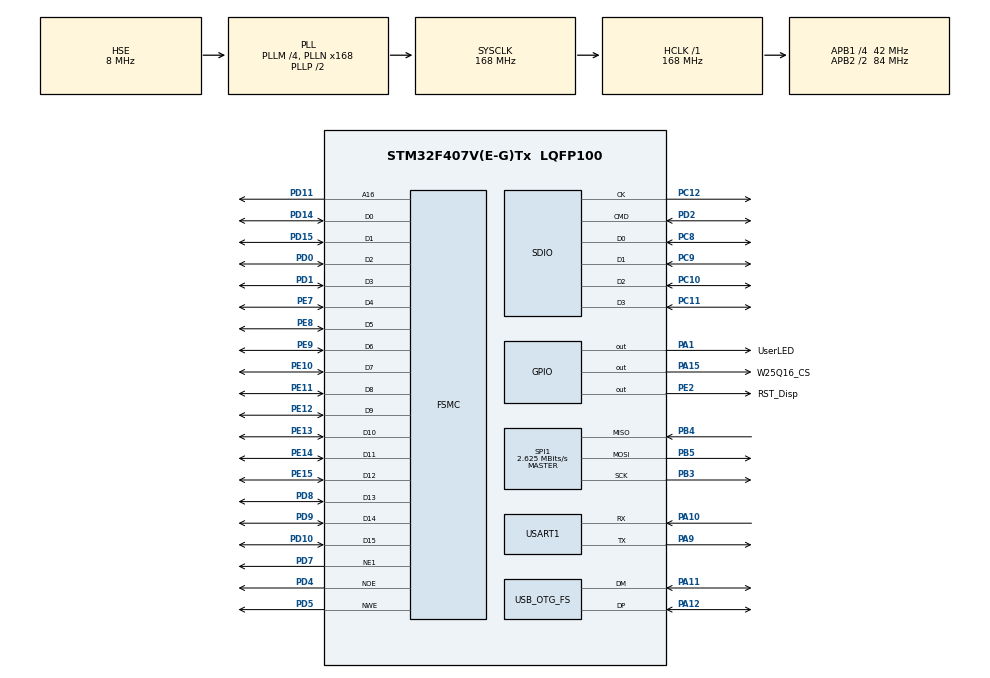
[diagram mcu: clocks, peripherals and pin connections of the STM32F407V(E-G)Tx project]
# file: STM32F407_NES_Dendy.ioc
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FATFS._FS_RPATH=1
FATFS._LFN_UNICODE=1
FATFS._MAX_SS=4096
FATFS._USE_LFN=2
FATFS._VOLUMES=2
FSMC.ExtendedAddressSetupTime1=4
FSMC.ExtendedBusTurnAroundDuration1=0
FSMC.ExtendedDataSetupTime1=8
FSMC.ExtendedMode1=FSMC_EXTENDED_MODE_ENABLE
Mcu.Family=STM32F4
Mcu.Name=STM32F407V(E-G)Tx
Mcu.Package=LQFP100
NVIC.OTG_FS_IRQn=true\:0\:0\:false\:false\:true\:false\:true\:true
NVIC.PriorityGroup=NVIC_PRIORITYGROUP_4
NVIC.USART1_IRQn=true\:0\:0\:false\:false\:true\:true\:true\:true
PA1.GPIO_Label=UserLED
PA1.GPIO_PuPd=GPIO_PULLUP
PA1.Signal=GPIO_Output
PA10.Mode=Asynchronous
PA10.Signal=USART1_RX
PA11.Mode=Device_Only
PA11.Signal=USB_OTG_FS_DM
PA12.Mode=Device_Only
PA12.Signal=USB_OTG_FS_DP
PA13.Mode=Serial_Wire
PA13.Signal=SYS_JTMS-SWDIO
PA14.Mode=Serial_Wire
PA14.Signal=SYS_JTCK-SWCLK
PA15.GPIO_Label=W25Q16_CS
PA15.PinState=GPIO_PIN_SET
PA15.Signal=GPIO_Output
PA9.Mode=Asynchronous
PA9.Signal=USART1_TX
PB3.Mode=Full_Duplex_Master
PB3.Signal=SPI1_SCK
PB4.Mode=Full_Duplex_Master
PB4.Signal=SPI1_MISO
PB5.Mode=Full_Duplex_Master
PB5.Signal=SPI1_MOSI
PC10.Mode=SD_4_bits_Wide_bus
PC10.Signal=SDIO_D2
PC11.Mode=SD_4_bits_Wide_bus
PC11.Signal=SDIO_D3
PC12.Mode=SD_4_bits_Wide_bus
PC12.Signal=SDIO_CK
PC14-OSC32_IN.Mode=LSE-External-Oscillator
PC14-OSC32_IN.Signal=RCC_OSC32_IN
PC15-OSC32_OUT.Mode=LSE-External-Oscillator
PC15-OSC32_OUT.Signal=RCC_OSC32_OUT
PC8.Mode=SD_4_bits_Wide_bus
PC8.Signal=SDIO_D0
PC9.Mode=SD_4_bits_Wide_bus
PC9.Signal=SDIO_D1
PD0.Mode=16b-d1
PD0.Signal=FSMC_D2
PD1.Mode=16b-d1
PD1.Signal=FSMC_D3
PD10.Mode=16b-d1
PD10.Signal=FSMC_D15
PD11.Mode=A16_1
PD11.Signal=FSMC_A16
PD14.Mode=16b-d1
PD14.Signal=FSMC_D0
PD15.Mode=16b-d1
PD15.Signal=FSMC_D1
PD2.Mode=SD_4_bits_Wide_bus
PD2.Signal=SDIO_CMD
PD4.Mode=Lcd1
PD4.Signal=FSMC_NOE
PD5.Mode=Lcd1
PD5.Signal=FSMC_NWE
PD7.Mode=NorPsramChipSelect1_1
PD7.Signal=FSMC_NE1
PD8.Mode=16b-d1
PD8.Signal=FSMC_D13
PD9.Mode=16b-d1
PD9.Signal=FSMC_D14
PE10.Mode=16b-d1
PE10.Signal=FSMC_D7
PE11.Mode=16b-d1
PE11.Signal=FSMC_D8
PE12.Mode=16b-d1
PE12.Signal=FSMC_D9
PE13.Mode=16b-d1
PE13.Signal=FSMC_D10
PE14.Mode=16b-d1
PE14.Signal=FSMC_D11
PE15.Mode=16b-d1
PE15.Signal=FSMC_D12
PE2.GPIO_Label=RST_Disp
PE2.PinState=GPIO_PIN_SET
PE2.Signal=GPIO_Output
PE7.Mode=16b-d1
PE7.Signal=FSMC_D4
PE8.Mode=16b-d1
PE8.Signal=FSMC_D5
PE9.Mode=16b-d1
PE9.Signal=FSMC_D6
PH0-OSC_IN.Mode=HSE-External-Oscillator
PH0-OSC_IN.Signal=RCC_OSC_IN
PH1-OSC_OUT.Mode=HSE-External-Oscillator
PH1-OSC_OUT.Signal=RCC_OSC_OUT
ProjectManager.HeapSize=0x200
ProjectManager.StackSize=0x2000
ProjectManager.TargetToolchain=CMake
RCC.48MHZClocksFreq_Value=48000000
RCC.AHBFreq_Value=168000000
RCC.APB1CLKDivider=RCC_HCLK_DIV4
RCC.APB1Freq_Value=42000000
RCC.APB1TimFreq_Value=84000000
RCC.APB2CLKDivider=RCC_HCLK_DIV2
RCC.APB2Freq_Value=84000000
RCC.APB2TimFreq_Value=168000000
RCC.CortexFreq_Value=168000000
RCC.HCLKFreq_Value=168000000
RCC.HSE_VALUE=8000000
RCC.HSI_VALUE=16000000
RCC.PLLM=4
RCC.PLLN=168
RCC.PLLQ=7
RCC.PLLSourceVirtual=RCC_PLLSOURCE_HSE
RCC.RCC_RTC_Clock_Source=RCC_RTCCLKSOURCE_LSE
RCC.RCC_RTC_Clock_SourceVirtual=RCC_RTCCLKSOURCE_LSE
RCC.SYSCLKFreq_VALUE=168000000
RCC.SYSCLKSource=RCC_SYSCLKSOURCE_PLLCLK
RCC.VCOOutputFreq_Value=336000000
SDIO.ClockDiv=0
SPI1.BaudRatePrescaler=SPI_BAUDRATEPRESCALER_32
SPI1.CalculateBaudRate=2.625 MBits/s
SPI1.Direction=SPI_DIRECTION_2LINES
SPI1.Mode=SPI_MODE_MASTER
SPI1.VirtualNSS=VM_NSSSOFT
SPI1.VirtualType=VM_MASTER
USART1.VirtualMode=VM_ASYNC
USB_DEVICE.CLASS_NAME_FS=CDC
USB_DEVICE.VirtualMode-CDC_FS=Cdc
USB_DEVICE.VirtualModeFS=Cdc_FS
USB_OTG_FS.VirtualMode=Device_Only
VP_FATFS_VS_SDIO.Mode=SDIO
VP_RTC_VS_RTC_Activate.Mode=RTC_Enabled
VP_RTC_VS_RTC_Calendar.Mode=RTC_Calendar
VP_USB_DEVICE_VS_USB_DEVICE_CDC_FS.Mode=CDC_FS
board=custom

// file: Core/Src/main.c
/* USER CODE BEGIN Header */
/**
  ******************************************************************************
  * @file           : main.c
  * @brief          : Main program body
  ******************************************************************************
  * @attention
  *
  * Copyright (c) 2026 STMicroelectronics.
  * All rights reserved.
  *
  * This software is licensed under terms that can be found in the LICENSE file
  * in the root directory of this software component.
  * If no LICENSE file comes with this software, it is provided AS-IS.
  *
  ******************************************************************************
  */
/* USER CODE END Header */
#include "main.h"
#include "fatfs.h"
#include "usb_device.h"

/* USER CODE BEGIN Includes */
#include "ili9341.h"
#ifdef LCD_PLAYBACK_DIAGNOSTICS
#include "lcd_playback_diagnostics.h"
#else
#include "nes_menu.h"
#endif
#include "sd_browser.h"
/* USER CODE END Includes */

RTC_HandleTypeDef hrtc;

SD_HandleTypeDef hsd;

SPI_HandleTypeDef hspi1;

UART_HandleTypeDef huart1;

SRAM_HandleTypeDef hsram1;

void SystemClock_Config(void);
static void MX_GPIO_Init(void);
static void MX_SDIO_SD_Init(void);
static void MX_USART1_UART_Init(void);
static void MX_RTC_Init(void);
static void MX_SPI1_Init(void);
static void MX_FSMC_Init(void);

int main(void)
{

  /* MCU Configuration--------------------------------------------------------*/

  /* Reset of all peripherals, Initializes the Flash interface and the Systick. */
  HAL_Init();

  /* Configure the system clock */
  SystemClock_Config();

  /* Initialize all configured peripherals */
  MX_GPIO_Init();
  MX_SDIO_SD_Init();
  MX_FATFS_Init();
  MX_RTC_Init();
  MX_SPI1_Init();
  MX_USART1_UART_Init();
  MX_USB_DEVICE_Init();
  MX_FSMC_Init();
  /* USER CODE BEGIN 2 */
  SD_Browser_Init();
  ILI9341_Init();
#ifndef LCD_PLAYBACK_DIAGNOSTICS
  NesMenu_Init();
#endif
  /* USER CODE END 2 */

  /* Infinite loop */
  while (1)
  {

    /* USER CODE BEGIN 3 */
    SD_Browser_Poll();
#ifdef LCD_PLAYBACK_DIAGNOSTICS
    LcdPlaybackDiagnostics_Poll();
#else
    NesMenu_Poll();
#endif
  }
  /* USER CODE END 3 */
}

void SystemClock_Config(void)
{
  RCC_OscInitTypeDef RCC_OscInitStruct = {0};
  RCC_ClkInitTypeDef RCC_ClkInitStruct = {0};

  /** Configure the main internal regulator output voltage
  */
  __HAL_RCC_PWR_CLK_ENABLE();
  __HAL_PWR_VOLTAGESCALING_CONFIG(PWR_REGULATOR_VOLTAGE_SCALE1);

  /** Initializes the RCC Oscillators according to the specified parameters
  * in the RCC_OscInitTypeDef structure.
  */
  RCC_OscInitStruct.OscillatorType = RCC_OSCILLATORTYPE_HSE|RCC_OSCILLATORTYPE_LSE;
  RCC_OscInitStruct.HSEState = RCC_HSE_ON;
  RCC_OscInitStruct.LSEState = RCC_LSE_ON;
  RCC_OscInitStruct.PLL.PLLState = RCC_PLL_ON;
  RCC_OscInitStruct.PLL.PLLSource = RCC_PLLSOURCE_HSE;
  RCC_OscInitStruct.PLL.PLLM = 4;
  RCC_OscInitStruct.PLL.PLLN = 168;
  RCC_OscInitStruct.PLL.PLLP = RCC_PLLP_DIV2;
  RCC_OscInitStruct.PLL.PLLQ = 7;
  if (HAL_RCC_OscConfig(&RCC_OscInitStruct) != HAL_OK)
  {
    Error_Handler();
  }

  /** Initializes the CPU, AHB and APB buses clocks
  */
  RCC_ClkInitStruct.ClockType = RCC_CLOCKTYPE_HCLK|RCC_CLOCKTYPE_SYSCLK
                              |RCC_CLOCKTYPE_PCLK1|RCC_CLOCKTYPE_PCLK2;
  RCC_ClkInitStruct.SYSCLKSource = RCC_SYSCLKSOURCE_PLLCLK;
  RCC_ClkInitStruct.AHBCLKDivider = RCC_SYSCLK_DIV1;
  RCC_ClkInitStruct.APB1CLKDivider = RCC_HCLK_DIV4;
  RCC_ClkInitStruct.APB2CLKDivider = RCC_HCLK_DIV2;

  if (HAL_RCC_ClockConfig(&RCC_ClkInitStruct, FLASH_LATENCY_5) != HAL_OK)
  {
    Error_Handler();
  }
}

static void MX_RTC_Init(void)
{

  RTC_TimeTypeDef sTime = {0};
  RTC_DateTypeDef sDate = {0};

  /** Initialize RTC Only
  */
  hrtc.Instance = RTC;
  hrtc.Init.HourFormat = RTC_HOURFORMAT_24;
  hrtc.Init.AsynchPrediv = 127;
  hrtc.Init.SynchPrediv = 255;
  hrtc.Init.OutPut = RTC_OUTPUT_DISABLE;
  hrtc.Init.OutPutPolarity = RTC_OUTPUT_POLARITY_HIGH;
  hrtc.Init.OutPutType = RTC_OUTPUT_TYPE_OPENDRAIN;
  if (HAL_RTC_Init(&hrtc) != HAL_OK)
  {
    Error_Handler();
  }

  /** Initialize RTC and set the Time and Date
  */
  sTime.Hours = 0x0;
  sTime.Minutes = 0x0;
  sTime.Seconds = 0x0;
  sTime.DayLightSaving = RTC_DAYLIGHTSAVING_NONE;
  sTime.StoreOperation = RTC_STOREOPERATION_RESET;
  if (HAL_RTC_SetTime(&hrtc, &sTime, RTC_FORMAT_BCD) != HAL_OK)
  {
    Error_Handler();
  }
  sDate.WeekDay = RTC_WEEKDAY_MONDAY;
  sDate.Month = RTC_MONTH_JANUARY;
  sDate.Date = 0x1;
  sDate.Year = 0x0;

  if (HAL_RTC_SetDate(&hrtc, &sDate, RTC_FORMAT_BCD) != HAL_OK)
  {
    Error_Handler();
  }

}

static void MX_SDIO_SD_Init(void)
{

  hsd.Instance = SDIO;
  hsd.Init.ClockEdge = SDIO_CLOCK_EDGE_RISING;
  hsd.Init.ClockBypass = SDIO_CLOCK_BYPASS_DISABLE;
  hsd.Init.ClockPowerSave = SDIO_CLOCK_POWER_SAVE_DISABLE;
  hsd.Init.BusWide = SDIO_BUS_WIDE_1B;
  hsd.Init.HardwareFlowControl = SDIO_HARDWARE_FLOW_CONTROL_DISABLE;
  hsd.Init.ClockDiv = 0;

}

static void MX_SPI1_Init(void)
{

  /* SPI1 parameter configuration*/
  hspi1.Instance = SPI1;
  hspi1.Init.Mode = SPI_MODE_MASTER;
  hspi1.Init.Direction = SPI_DIRECTION_2LINES;
  hspi1.Init.DataSize = SPI_DATASIZE_8BIT;
  hspi1.Init.CLKPolarity = SPI_POLARITY_LOW;
  hspi1.Init.CLKPhase = SPI_PHASE_1EDGE;
  hspi1.Init.NSS = SPI_NSS_SOFT;
  hspi1.Init.BaudRatePrescaler = SPI_BAUDRATEPRESCALER_32;
  hspi1.Init.FirstBit = SPI_FIRSTBIT_MSB;
  hspi1.Init.TIMode = SPI_TIMODE_DISABLE;
  hspi1.Init.CRCCalculation = SPI_CRCCALCULATION_DISABLE;
  hspi1.Init.CRCPolynomial = 10;
  if (HAL_SPI_Init(&hspi1) != HAL_OK)
  {
    Error_Handler();
  }

}

static void MX_USART1_UART_Init(void)
{

  huart1.Instance = USART1;
  huart1.Init.BaudRate = 115200;
  huart1.Init.WordLength = UART_WORDLENGTH_8B;
  huart1.Init.StopBits = UART_STOPBITS_1;
  huart1.Init.Parity = UART_PARITY_NONE;
  huart1.Init.Mode = UART_MODE_TX_RX;
  huart1.Init.HwFlowCtl = UART_HWCONTROL_NONE;
  huart1.Init.OverSampling = UART_OVERSAMPLING_16;
  if (HAL_UART_Init(&huart1) != HAL_OK)
  {
    Error_Handler();
  }

}

static void MX_GPIO_Init(void)
{
  GPIO_InitTypeDef GPIO_InitStruct = {0};

  /* GPIO Ports Clock Enable */
  __HAL_RCC_GPIOE_CLK_ENABLE();
  __HAL_RCC_GPIOC_CLK_ENABLE();
  __HAL_RCC_GPIOH_CLK_ENABLE();
  __HAL_RCC_GPIOA_CLK_ENABLE();
  __HAL_RCC_GPIOD_CLK_ENABLE();
  __HAL_RCC_GPIOB_CLK_ENABLE();

  /*Configure GPIO pin Output Level */
  HAL_GPIO_WritePin(RST_Disp_GPIO_Port, RST_Disp_Pin, GPIO_PIN_SET);
  HAL_GPIO_WritePin(UserLED_GPIO_Port, UserLED_Pin, GPIO_PIN_RESET);
  HAL_GPIO_WritePin(W25Q16_CS_GPIO_Port, W25Q16_CS_Pin, GPIO_PIN_SET);

  /*Configure GPIO pin : UserLED_Pin */
  GPIO_InitStruct.Pin = UserLED_Pin;
  GPIO_InitStruct.Mode = GPIO_MODE_OUTPUT_PP;
  GPIO_InitStruct.Pull = GPIO_PULLUP;
  GPIO_InitStruct.Speed = GPIO_SPEED_FREQ_LOW;
  HAL_GPIO_Init(UserLED_GPIO_Port, &GPIO_InitStruct);

  /*Configure GPIO pin : W25Q16_CS_Pin */
  GPIO_InitStruct.Pin = W25Q16_CS_Pin;
  GPIO_InitStruct.Mode = GPIO_MODE_OUTPUT_PP;
  GPIO_InitStruct.Pull = GPIO_NOPULL;
  GPIO_InitStruct.Speed = GPIO_SPEED_FREQ_LOW;
  HAL_GPIO_Init(W25Q16_CS_GPIO_Port, &GPIO_InitStruct);

  GPIO_InitStruct.Pin = RST_Disp_Pin;
  HAL_GPIO_Init(RST_Disp_GPIO_Port, &GPIO_InitStruct);

}

/* FSMC initialization function */
static void MX_FSMC_Init(void)
{

  FSMC_NORSRAM_TimingTypeDef Timing = {0};
  FSMC_NORSRAM_TimingTypeDef WriteTiming = {0};

  /** Perform the SRAM1 memory initialization sequence
  */
  hsram1.Instance = FSMC_NORSRAM_DEVICE;
  hsram1.Extended = FSMC_NORSRAM_EXTENDED_DEVICE;
  /* hsram1.Init */
  hsram1.Init.NSBank = FSMC_NORSRAM_BANK1;
  hsram1.Init.DataAddressMux = FSMC_DATA_ADDRESS_MUX_DISABLE;
  hsram1.Init.MemoryType = FSMC_MEMORY_TYPE_SRAM;
  hsram1.Init.MemoryDataWidth = FSMC_NORSRAM_MEM_BUS_WIDTH_16;
  hsram1.Init.BurstAccessMode = FSMC_BURST_ACCESS_MODE_DISABLE;
  hsram1.Init.WaitSignalPolarity = FSMC_WAIT_SIGNAL_POLARITY_LOW;
  hsram1.Init.WrapMode = FSMC_WRAP_MODE_DISABLE;
  hsram1.Init.WaitSignalActive = FSMC_WAIT_TIMING_BEFORE_WS;
  hsram1.Init.WriteOperation = FSMC_WRITE_OPERATION_ENABLE;
  hsram1.Init.WaitSignal = FSMC_WAIT_SIGNAL_DISABLE;
  hsram1.Init.ExtendedMode = FSMC_EXTENDED_MODE_ENABLE;
  hsram1.Init.AsynchronousWait = FSMC_ASYNCHRONOUS_WAIT_DISABLE;
  hsram1.Init.WriteBurst = FSMC_WRITE_BURST_DISABLE;
  hsram1.Init.PageSize = FSMC_PAGE_SIZE_NONE;
  /* Timing */
  Timing.AddressSetupTime = 15;
  Timing.AddressHoldTime = 15;
  Timing.DataSetupTime = 255;
  Timing.BusTurnAroundDuration = 15;
  Timing.CLKDivision = 16;
  Timing.DataLatency = 17;
  Timing.AccessMode = FSMC_ACCESS_MODE_A;
  /* Leave settling time for WR and the parallel LCD cable at 168 MHz. */
  WriteTiming = Timing;
  WriteTiming.AddressSetupTime = 7;
  WriteTiming.DataSetupTime = 11;
  WriteTiming.BusTurnAroundDuration = 0;

  if (HAL_SRAM_Init(&hsram1, &Timing, &WriteTiming) != HAL_OK)
  {
    Error_Handler( );
  }

}

void Error_Handler(void)
{
  __disable_irq();
  while (1)
  {
  }
}
